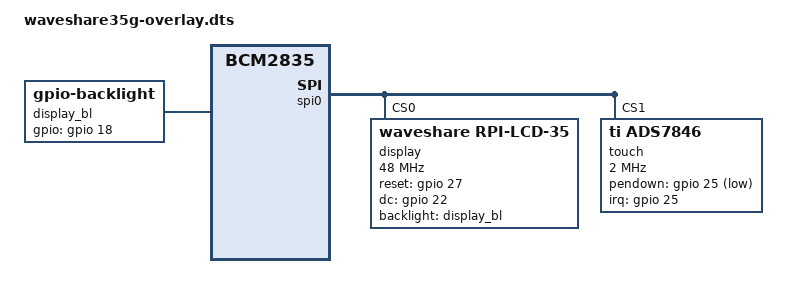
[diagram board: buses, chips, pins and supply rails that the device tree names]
/dts-v1/;
/plugin/;

#include <dt-bindings/gpio/gpio.h>

/ {
    compatible = "brcm,bcm2835";

    fragment@0 {
        target = <&spi0>;
        __overlay__ {
            status = "okay";
        };
    };

    fragment@1 {
        target = <&spidev0>;
        __overlay__ {
            status = "disabled";
        };
    };

    fragment@2 {
        target = <&spidev1>;
        __overlay__ {
            status = "disabled";
        };
    };

    fragment@3 {
        target-path = "/";
        __overlay__ {
            display_bl: backlight {
                compatible = "gpio-backlight";
                gpios = <&gpio 18 GPIO_ACTIVE_HIGH>;
                default-on;
            };
        };
    };

    fragment@4 {
        target = <&spi0>;
        __overlay__ {
            #address-cells = <1>;
            #size-cells = <0>;

            display: display@0 {
                compatible = "waveshare,rpi-lcd-35";
                reg = <0>;
                spi-max-frequency = <48000000>;
                rotation = <90>;
                reset-gpios = <&gpio 27 GPIO_ACTIVE_HIGH>;
                dc-gpios = <&gpio 22 GPIO_ACTIVE_HIGH>;
                backlight = <&display_bl>;
            };

            touch: touch@1 {
                compatible = "ti,ads7846";
                reg = <1>;
                spi-max-frequency = <2000000>;
                interrupts = <25 2>;
                interrupt-parent = <&gpio>;
                pendown-gpio = <&gpio 25 GPIO_ACTIVE_LOW>;
                ti,x-plate-ohms = /bits/ 16 <100>;
                ti,pressure-max = /bits/ 16 <255>;
            };
        };
    };
};
